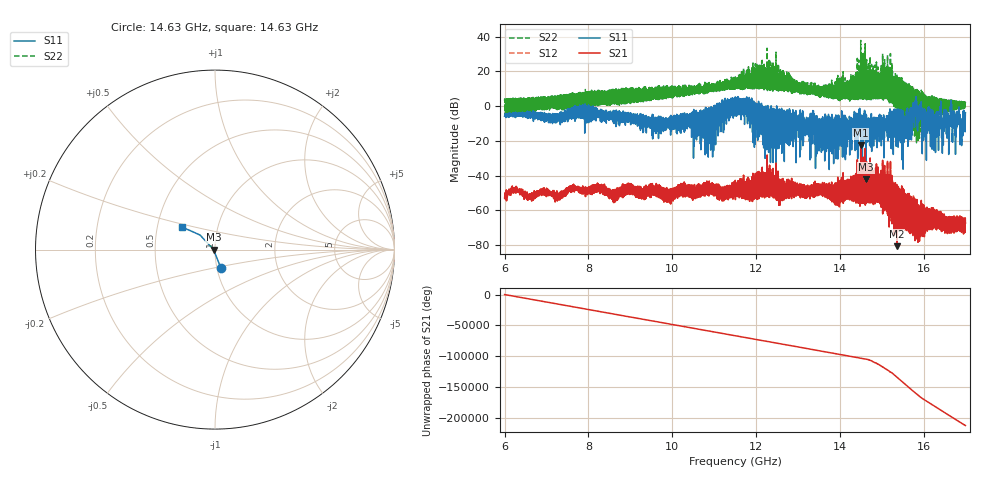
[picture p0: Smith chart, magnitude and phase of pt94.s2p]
#  HZ  S  RI  R  50.00
! Rohde & Schwarz Vector Network Analyzer
! Rohde-Schwarz,ZNA67-2Port,1332450062101215,3.01
! Created: UTC 10/19/2026, 11:22:33 AM
! freq[Hz]  re:S11  im:S11  re:S21  im:S21  re:S12  im:S12  re:S22  im:S22
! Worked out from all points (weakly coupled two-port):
!   11001 points, 6 GHz to 17 GHz, reference 50 ohm
!   highest |S21| = -22.52 dB at 14.5 GHz (marker M1); lowest = -80.7 dB at 15.37 GHz (marker M2)
!   lowest |S11| = -42.1 dB at 14.63 GHz (marker M3), VSWR 1.02, Z = 49.2 - j0.00591 ohm
!   |S11| at or under -10 dB: 13.46863 GHz to 13.4947 GHz (26.07 MHz wide, 0.193 % of centre); 13.60945 GHz to 13.63385 GHz (24.39 MHz wide, 0.179 % of centre); 13.92236 GHz to 13.94859 GHz (26.23 MHz wide, 0.188 % of centre) (the widest 3 of 518)
!   |S22| runs from -21.1 to 37.9 dB; largest |S21 - S12| = 0.0028
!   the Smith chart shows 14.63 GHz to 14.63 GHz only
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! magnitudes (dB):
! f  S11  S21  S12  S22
! 6 GHz  -5.7  -53.0  -53.0  3.1
! 6.234 GHz  -5.1  -48.7  -48.7  4.2
! 6.631 GHz  -6.0  -52.0  -52.0  4.1
! 7.834 GHz  -3.3  -47.1  -47.0  7.4
! 8.593 GHz  -3.8  -48.7  -48.4  9.6
! 8.925 GHz  -5.5  -49.1  -49.0  1.7
! 9.667 GHz  -6.1  -45.8  -46.0  11.7
! 10.87 GHz  -1.7  -50.4  -50.4  8.5
! 11.5 GHz  5.0  -50.8  -50.8  12.6
! 12.44 GHz  -2.9  -46.6  -46.7  16.8
! 13.33 GHz  -12.4  -49.1  -49.0  8.7
! 13.8 GHz  -6.9  -52.7  -52.9  5.3
! 14.5 GHz  -35.5  -22.5  -22.7  37.9
! 14.63 GHz  -42.1  -53.1  -52.9  8.1
! 15.17 GHz  -14.3  -56.6  -56.6  6.2
! 15.37 GHz  -20.0  -80.7  -80.4  -0.2
! 15.68 GHz  -2.3  -56.6  -56.5  6.8
! 15.8 GHz  -6.0  -77.5  -77.4  -16.9
! 16.04 GHz  -5.2  -62.6  -62.8  3.5
! 16.69 GHz  -16.3  -65.5  -66.0  1.3
! 16.91 GHz  -18.8  -65.9  -65.9  1.8
! 17 GHz  -3.8  -67.4  -67.8  1.6
